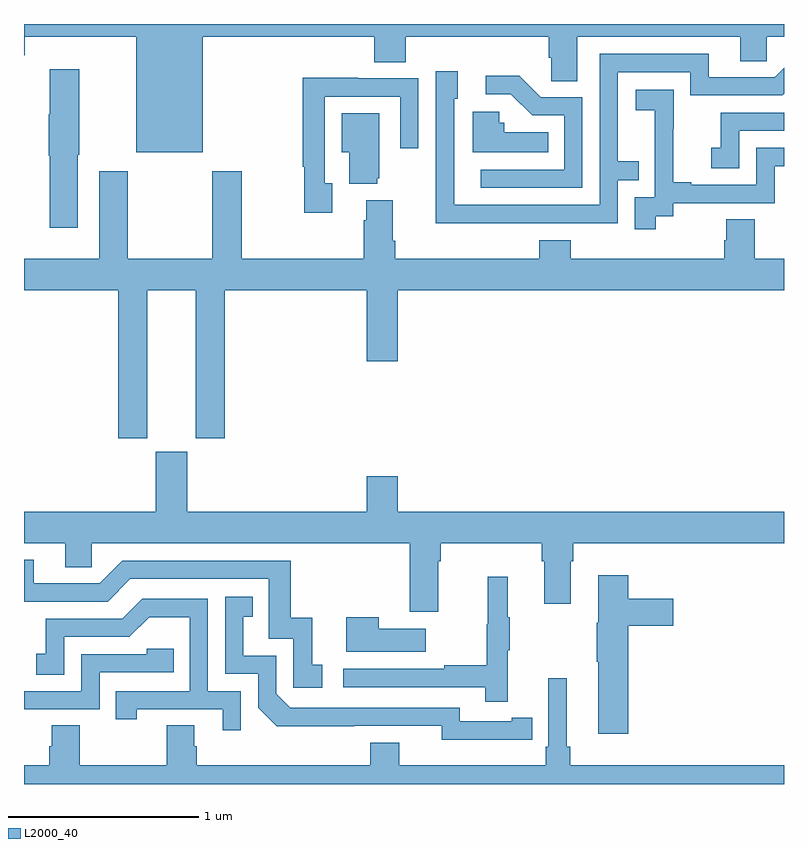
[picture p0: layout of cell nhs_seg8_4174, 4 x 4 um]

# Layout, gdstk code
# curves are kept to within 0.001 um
import gdstk
lib = gdstk.Library(unit=1e-6, precision=1e-09)
def P(c, l, *ps):  # polygons
    for p in ps: c.add(gdstk.Polygon(p, *l))
L2000_40 = (2000, 40)

nhs_seg8_4174 = lib.new_cell('nhs_seg8_4174')
P(nhs_seg8_4174, L2000_40, [(367.942,1117.832),(368.843,1117.832),(368.843,1117.699),(369.008,1117.699),(369.008,1117.832),(369.761,1117.832),(369.761,1117.723),(369.774,1117.723),(369.774,1117.6),(369.913,1117.6),(369.913,1117.832),(370.769,1117.832),(370.769,1117.705),(370.908,1117.705),(370.908,1117.832),(371,1117.832),(371,1117.9),(367,1117.9),(367,1117.736),(367.004,1117.736),(367.004,1117.832),(367.592,1117.832),(367.592,1117.226),(367.942,1117.226)],
  [(369.629,1116.852),(370.125,1116.852),(370.125,1117.077),(370.235,1117.077),(370.235,1117.178),(370.125,1117.178),(370.125,1117.647),(370.506,1117.647),(370.506,1117.524),(370.992,1117.524),(371,1117.532),(371,1117.67),(370.95,1117.62),(370.603,1117.62),(370.603,1117.743),(370.029,1117.743),(370.029,1116.948),(369.265,1116.948),(369.264,1117.506),(369.283,1117.506),(369.283,1117.651),(369.168,1117.651),(369.168,1117.157),(369.166,1117.157),(369.166,1116.851)],
  [(367.282,1117.213),(367.29,1117.213),(367.29,1117.663),(367.136,1117.663),(367.136,1117.424),(367.129,1117.424),(367.129,1117.207),(367.136,1117.207),(367.136,1116.828),(367.282,1116.828)],
  [(369.939,1117.515),(369.72,1117.515),(369.607,1117.628),(369.429,1117.628),(369.429,1117.53),(369.563,1117.53),(369.674,1117.419),(369.843,1117.419),(369.843,1117.134),(369.405,1117.134),(369.405,1117.038),(369.939,1117.038)],
  [(368.623,1117.062),(368.583,1117.062),(368.583,1117.518),(368.979,1117.518),(368.979,1117.245),(369.075,1117.245),(369.075,1117.614),(368.759,1117.614),(368.759,1117.616),(368.467,1117.616),(368.467,1117.15),(368.475,1117.15),(368.475,1116.906),(368.623,1116.906)],
  [(370.324,1116.889),(370.416,1116.889),(370.416,1116.957),(370.95,1116.957),(370.95,1117.152),(371,1117.152),(371,1117.248),(370.854,1117.248),(370.854,1117.053),(370.513,1117.053),(370.513,1117.066),(370.418,1117.066),(370.418,1117.349),(370.419,1117.349),(370.419,1117.555),(370.221,1117.555),(370.221,1117.445),(370.319,1117.445),(370.319,1117.217),(370.32,1117.217),(370.32,1116.987),(370.215,1116.987),(370.215,1116.819),(370.324,1116.819)],
  [(369.758,1117.33),(369.528,1117.33),(369.528,1117.38),(369.501,1117.38),(369.501,1117.438),(369.362,1117.438),(369.362,1117.226),(369.758,1117.226)],
  [(370.764,1117.338),(371,1117.338),(371,1117.434),(370.666,1117.434),(370.666,1117.249),(370.617,1117.249),(370.617,1117.14),(370.764,1117.14)],
  [(368.858,1117.089),(368.869,1117.089),(368.869,1117.429),(368.672,1117.429),(368.672,1117.226),(368.711,1117.226),(368.711,1117.058),(368.858,1117.058)],
  [(367.648,1116.5),(367.904,1116.5),(367.904,1115.721),(368.057,1115.721),(368.057,1116.5),(368.804,1116.5),(368.804,1116.126),(368.968,1116.126),(368.968,1116.5),(371,1116.5),(371,1116.664),(370.845,1116.664),(370.845,1116.872),(370.697,1116.872),(370.697,1116.762),(370.685,1116.762),(370.685,1116.664),(369.878,1116.664),(369.878,1116.763),(369.713,1116.763),(369.713,1116.664),(368.954,1116.664),(368.954,1116.76),(368.941,1116.76),(368.941,1116.973),(368.801,1116.973),(368.801,1116.866),(368.789,1116.866),(368.789,1116.664),(368.145,1116.664),(368.145,1117.126),(367.99,1117.126),(367.99,1116.664),(367.545,1116.664),(367.545,1117.126),(367.397,1117.126),(367.397,1116.664),(367,1116.664),(367,1116.5),(367.496,1116.5),(367.496,1115.721),(367.648,1115.721)],
  [(369.181,1115.072),(369.194,1115.072),(369.194,1115.168),(369.725,1115.168),(369.725,1115.072),(369.737,1115.072),(369.737,1114.848),(369.877,1114.848),(369.877,1115.072),(369.89,1115.072),(369.89,1115.168),(371,1115.168),(371,1115.332),(368.968,1115.332),(368.968,1115.521),(368.804,1115.521),(368.804,1115.332),(367.858,1115.332),(367.858,1115.649),(367.694,1115.649),(367.694,1115.332),(367,1115.332),(367,1115.168),(367.217,1115.168),(367.217,1115.041),(367.356,1115.041),(367.356,1115.168),(369.029,1115.168),(369.029,1114.806),(369.181,1114.806)],
  [(368.569,1114.527),(368.516,1114.527),(368.516,1114.774),(368.405,1114.774),(368.405,1115.076),(367.518,1115.076),(367.398,1114.956),(367.051,1114.956),(367.051,1115.079),(367,1115.079),(367,1114.86),(367.44,1114.86),(367.56,1114.98),(368.289,1114.98),(368.289,1114.665),(368.418,1114.665),(368.418,1114.407),(368.569,1114.407)],
  [(370.181,1114.733),(370.417,1114.733),(370.417,1114.875),(370.181,1114.875),(370.181,1114.999),(370.022,1114.999),(370.022,1114.749),(370.015,1114.749),(370.015,1114.543),(370.022,1114.543),(370.022,1114.164),(370.181,1114.164)],
  [(369.545,1114.603),(369.556,1114.603),(369.556,1114.777),(369.545,1114.777),(369.545,1114.99),(369.442,1114.99),(369.442,1114.74),(369.435,1114.74),(369.435,1114.526),(369.211,1114.526),(369.211,1114.506),(368.679,1114.506),(368.679,1114.41),(369.427,1114.41),(369.427,1114.332),(369.545,1114.332)],
  [(369.566,1114.134),(369.674,1114.134),(369.674,1114.25),(369.566,1114.25),(369.566,1114.23),(369.294,1114.23),(369.294,1114.302),(368.4,1114.302),(368.328,1114.374),(368.328,1114.575),(368.155,1114.575),(368.155,1114.779),(368.204,1114.779),(368.204,1114.885),(368.058,1114.885),(368.058,1114.479),(368.232,1114.479),(368.232,1114.302),(368.33,1114.205),(369.198,1114.206),(369.198,1114.133)],
  [(368.142,1114.389),(367.968,1114.389),(367.968,1114.875),(367.622,1114.875),(367.517,1114.77),(367.114,1114.77),(367.114,1114.585),(367.065,1114.585),(367.065,1114.476),(367.212,1114.476),(367.212,1114.674),(367.554,1114.674),(367.658,1114.778),(367.872,1114.778),(367.872,1114.389),(367.483,1114.389),(367.483,1114.242),(367.594,1114.242),(367.594,1114.293),(368.045,1114.293),(368.045,1114.182),(368.142,1114.182)],
  [(369.115,1114.717),(368.867,1114.717),(368.867,1114.777),(368.696,1114.777),(368.696,1114.595),(369.115,1114.595)],
  [(367.398,1114.488),(367.787,1114.488),(367.787,1114.611),(367.647,1114.611),(367.647,1114.584),(367.302,1114.584),(367.302,1114.389),(367,1114.389),(367,1114.293),(367.398,1114.293)],
  [(369.875,1114.096),(369.856,1114.096),(369.856,1114.456),(369.759,1114.456),(369.759,1114.096),(369.746,1114.096),(369.746,1114),(368.974,1114),(368.974,1114.117),(368.822,1114.117),(368.822,1114),(367.91,1114),(367.91,1114.098),(367.897,1114.098),(367.897,1114.208),(367.75,1114.208),(367.75,1114),(367.293,1114),(367.293,1114.208),(367.145,1114.208),(367.145,1114.098),(367.133,1114.098),(367.133,1114),(367,1114),(367,1113.9),(371,1113.9),(371,1114),(369.875,1114)])

lib.write_gds('nhs_seg8_4174.gds')
